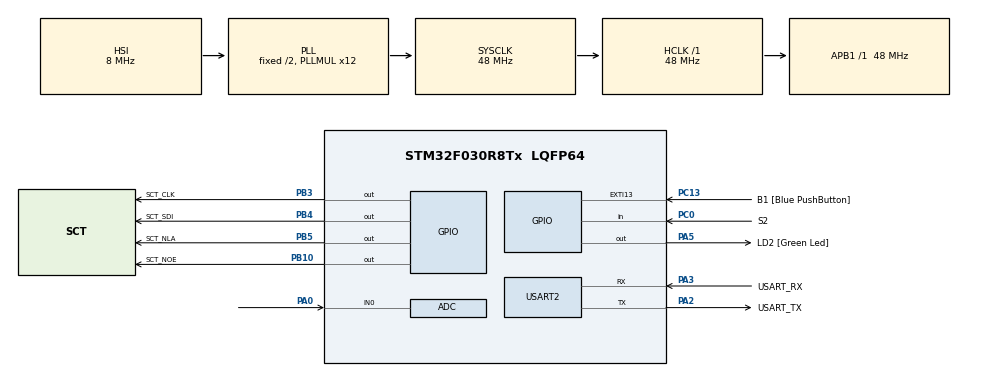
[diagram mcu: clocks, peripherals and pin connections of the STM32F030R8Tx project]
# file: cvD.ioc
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ADC.ContinuousConvMode=ENABLE
ADC.Overrun=ADC_OVR_DATA_OVERWRITTEN
ADC.SamplingTime=ADC_SAMPLETIME_239CYCLES_5
Mcu.Family=STM32F0
Mcu.Name=STM32F030R8Tx
Mcu.Package=LQFP64
NVIC.ADC1_IRQn=true\:0\:0\:false\:false\:true\:true\:true\:true
PA0.Mode=IN0
PA0.Signal=ADC_IN0
PA13.GPIO_Label=TMS
PA13.Mode=Serial_Wire
PA13.Signal=SYS_SWDIO
PA14.GPIO_Label=TCK
PA14.Mode=Serial_Wire
PA14.Signal=SYS_SWCLK
PA2.GPIO_Label=USART_TX
PA2.GPIO_Mode=GPIO_MODE_AF_PP
PA2.GPIO_PuPd=GPIO_NOPULL
PA2.GPIO_Speed=GPIO_SPEED_FREQ_LOW
PA2.Mode=Asynchronous
PA2.Signal=USART2_TX
PA3.GPIO_Label=USART_RX
PA3.GPIO_Mode=GPIO_MODE_AF_PP
PA3.GPIO_PuPd=GPIO_NOPULL
PA3.GPIO_Speed=GPIO_SPEED_FREQ_LOW
PA3.Mode=Asynchronous
PA3.Signal=USART2_RX
PA5.GPIO_Label=LD2 [Green Led]
PA5.GPIO_Mode=GPIO_MODE_OUTPUT_PP
PA5.GPIO_PuPd=GPIO_NOPULL
PA5.GPIO_Speed=GPIO_SPEED_FREQ_LOW
PA5.Signal=GPIO_Output
PB10.GPIO_Label=SCT_NOE
PB10.Signal=GPIO_Output
PB3.GPIO_Label=SCT_CLK
PB3.Signal=GPIO_Output
PB4.GPIO_Label=SCT_SDI
PB4.Signal=GPIO_Output
PB5.GPIO_Label=SCT_NLA
PB5.Signal=GPIO_Output
PC0.GPIO_Label=S2
PC0.GPIO_PuPd=GPIO_PULLUP
PC0.Signal=GPIO_Input
PC13.GPIO_Label=B1 [Blue PushButton]
PC13.GPIO_ModeDefaultEXTI=GPIO_MODE_IT_FALLING
PC13.Signal=GPXTI13
PC14-OSC32_IN.Mode=LSE-External-Oscillator
PC14-OSC32_IN.Signal=RCC_OSC32_IN
PC15-OSC32_OUT.Mode=LSE-External-Oscillator
PC15-OSC32_OUT.Signal=RCC_OSC32_OUT
PF0-OSC_IN.Mode=HSE-External-Clock-Source
PF0-OSC_IN.Signal=RCC_OSC_IN
PF1-OSC_OUT.Signal=RCC_OSC_OUT
ProjectManager.HeapSize=0x200
ProjectManager.StackSize=0x400
ProjectManager.TargetToolchain=STM32CubeIDE
RCC.AHBFreq_Value=48000000
RCC.APB1Freq_Value=48000000
RCC.APB1TimFreq_Value=48000000
RCC.HCLKFreq_Value=48000000
RCC.PLLMUL=RCC_PLL_MUL12
RCC.SYSCLKFreq_VALUE=48000000
RCC.SYSCLKSource=RCC_SYSCLKSOURCE_PLLCLK
USART2.VirtualMode-Asynchronous=VM_ASYNC
board=NUCLEO-F030R8

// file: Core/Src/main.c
/* USER CODE BEGIN Header */
/**
  ******************************************************************************
  * @file           : main.c
  * @brief          : Main program body
  ******************************************************************************
  * @attention
  *
  * Copyright (c) 2025 STMicroelectronics.
  * All rights reserved.
  *
  * This software is licensed under terms that can be found in the LICENSE file
  * in the root directory of this software component.
  * If no LICENSE file comes with this software, it is provided AS-IS.
  *
  ******************************************************************************
  */
/* USER CODE END Header */
#include "main.h"

/* USER CODE BEGIN Includes */
#include "sct.h"
/* USER CODE END Includes */

ADC_HandleTypeDef hadc;

UART_HandleTypeDef huart2;

void SystemClock_Config(void);
static void MX_GPIO_Init(void);
static void MX_USART2_UART_Init(void);
static void MX_ADC_Init(void);

/* USER CODE BEGIN 0 */
static volatile uint32_t speed;
void HAL_ADC_ConvCpltCallback(ADC_HandleTypeDef* hadc)
{
	volatile uint16_t adc_raw = HAL_ADC_GetValue(hadc);
	speed = (adc_raw * 15000 / 4096) + 5000;
}

/* USER CODE END 0 */

int main(void)
{

  /* MCU Configuration--------------------------------------------------------*/

  /* Reset of all peripherals, Initializes the Flash interface and the Systick. */
  HAL_Init();

  /* Configure the system clock */
  SystemClock_Config();

  /* Initialize all configured peripherals */
  MX_GPIO_Init();
  MX_USART2_UART_Init();
  MX_ADC_Init();
  /* USER CODE BEGIN 2 */
  HAL_ADCEx_Calibration_Start(&hadc);
  HAL_ADC_Start_IT(&hadc);

  sct_init();
  /* USER CODE END 2 */

  /* Infinite loop */
  /* USER CODE BEGIN WHILE */
  while (1)
  {
	  enum LIGHT_t{
		  RED,
		  YELLOW_1,
		  YELLOW_2,
		  GREEN,
		  READY,
	  };

	  static enum LIGHT_t car;
	  static enum LIGHT_t walk;
	  static uint32_t delay_car;
	  static uint32_t delay_walk;
	  static uint8_t car_en = 1;
	  static uint8_t walk_en = 0;
	  static uint8_t counter;
	  static uint32_t cTime_timer;

	  static uint8_t leds[8];

	  static volatile uint32_t cTime_car;
	  if (HAL_GetTick() > cTime_car + delay_car && car_en){

		  switch (car) {
		  case RED:
			  leds[0] = 1;
			  leds[1] = 0;
			  leds[2] = 0;
			  delay_car = speed;
			  counter = speed / 1000;
			  cTime_timer = HAL_GetTick();
			  car = YELLOW_1;
			  if(walk == READY){
				  car_en = 0;
				  walk_en = 1;
				  walk = GREEN;
				  delay_walk = 0;
			  }
			  break;
		  case YELLOW_1:
			  leds[0] = 0;
			  leds[1] = 1;
			  leds[2] = 0;
			  delay_car = 1000;
			  car = GREEN;
			  break;
		  case YELLOW_2:
			  leds[0] = 0;
			  leds[1] = 1;
			  leds[2] = 0;
			  delay_car = 1000;
			  car = RED;
			  break;
		  case GREEN:
			  leds[0] = 0;
			  leds[1] = 0;
			  leds[2] = 1;
			  delay_car = speed;
			  counter = speed / 1000;
			  cTime_timer = HAL_GetTick();
			  car = YELLOW_2;
			  break;
		  default:
			  break;
		  }
		  cTime_car = HAL_GetTick();
		  sct_value(counter, leds, 0);
	  }

	  static uint32_t cTime_debounc;
	  if (HAL_GetTick() > cTime_debounc + 300){
		  if(HAL_GPIO_ReadPin(S2_GPIO_Port, S2_Pin) == 0){
			  car = YELLOW_2;
			  walk = READY;
			  delay_car = 0;
		  }
		  cTime_debounc = HAL_GetTick();
	  }

	  if (HAL_GetTick() > cTime_timer + 1000){
		  if(counter > 0) counter--;
		  sct_value(counter, leds, 0);
		  cTime_timer = HAL_GetTick();
	  }

	  static volatile uint32_t cTime_walk;
	  if (HAL_GetTick() > cTime_walk + delay_walk && walk_en){

		  switch (walk) {
		  case RED:
			  leds[6] = 1;
			  leds[7] = 0;
			  delay_car = 2000;
			  car = YELLOW_1;
			  walk_en = 0;
			  car_en = 1;
			  break;
		  case GREEN:
			  leds[6] = 0;
			  leds[7] = 1;
			  delay_walk = 5000;
			  walk = RED;
			  break;
		  case READY:
			  walk = RED;
		  default:
			  break;
		  }
		  cTime_walk = HAL_GetTick();
		  sct_value(0, leds, 0);
	  }

    /* USER CODE END WHILE */

  }
}

void SystemClock_Config(void)
{
  RCC_OscInitTypeDef RCC_OscInitStruct = {0};
  RCC_ClkInitTypeDef RCC_ClkInitStruct = {0};

  /** Initializes the RCC Oscillators according to the specified parameters
  * in the RCC_OscInitTypeDef structure.
  */
  RCC_OscInitStruct.OscillatorType = RCC_OSCILLATORTYPE_HSI|RCC_OSCILLATORTYPE_HSI14;
  RCC_OscInitStruct.HSIState = RCC_HSI_ON;
  RCC_OscInitStruct.HSI14State = RCC_HSI14_ON;
  RCC_OscInitStruct.HSICalibrationValue = RCC_HSICALIBRATION_DEFAULT;
  RCC_OscInitStruct.HSI14CalibrationValue = 16;
  RCC_OscInitStruct.PLL.PLLState = RCC_PLL_ON;
  RCC_OscInitStruct.PLL.PLLSource = RCC_PLLSOURCE_HSI;
  RCC_OscInitStruct.PLL.PLLMUL = RCC_PLL_MUL12;
  RCC_OscInitStruct.PLL.PREDIV = RCC_PREDIV_DIV1;
  if (HAL_RCC_OscConfig(&RCC_OscInitStruct) != HAL_OK)
  {
    Error_Handler();
  }

  /** Initializes the CPU, AHB and APB buses clocks
  */
  RCC_ClkInitStruct.ClockType = RCC_CLOCKTYPE_HCLK|RCC_CLOCKTYPE_SYSCLK
                              |RCC_CLOCKTYPE_PCLK1;
  RCC_ClkInitStruct.SYSCLKSource = RCC_SYSCLKSOURCE_PLLCLK;
  RCC_ClkInitStruct.AHBCLKDivider = RCC_SYSCLK_DIV1;
  RCC_ClkInitStruct.APB1CLKDivider = RCC_HCLK_DIV1;

  if (HAL_RCC_ClockConfig(&RCC_ClkInitStruct, FLASH_LATENCY_1) != HAL_OK)
  {
    Error_Handler();
  }
}

static void MX_ADC_Init(void)
{

  ADC_ChannelConfTypeDef sConfig = {0};

  /** Configure the global features of the ADC (Clock, Resolution, Data Alignment and number of conversion)
  */
  hadc.Instance = ADC1;
  hadc.Init.ClockPrescaler = ADC_CLOCK_ASYNC_DIV1;
  hadc.Init.Resolution = ADC_RESOLUTION_12B;
  hadc.Init.DataAlign = ADC_DATAALIGN_RIGHT;
  hadc.Init.ScanConvMode = ADC_SCAN_DIRECTION_FORWARD;
  hadc.Init.EOCSelection = ADC_EOC_SINGLE_CONV;
  hadc.Init.LowPowerAutoWait = DISABLE;
  hadc.Init.LowPowerAutoPowerOff = DISABLE;
  hadc.Init.ContinuousConvMode = ENABLE;
  hadc.Init.DiscontinuousConvMode = DISABLE;
  hadc.Init.ExternalTrigConv = ADC_SOFTWARE_START;
  hadc.Init.ExternalTrigConvEdge = ADC_EXTERNALTRIGCONVEDGE_NONE;
  hadc.Init.DMAContinuousRequests = DISABLE;
  hadc.Init.Overrun = ADC_OVR_DATA_OVERWRITTEN;
  if (HAL_ADC_Init(&hadc) != HAL_OK)
  {
    Error_Handler();
  }

  /** Configure for the selected ADC regular channel to be converted.
  */
  sConfig.Channel = ADC_CHANNEL_0;
  sConfig.Rank = ADC_RANK_CHANNEL_NUMBER;
  sConfig.SamplingTime = ADC_SAMPLETIME_239CYCLES_5;
  if (HAL_ADC_ConfigChannel(&hadc, &sConfig) != HAL_OK)
  {
    Error_Handler();
  }

}

static void MX_USART2_UART_Init(void)
{

  huart2.Instance = USART2;
  huart2.Init.BaudRate = 38400;
  huart2.Init.WordLength = UART_WORDLENGTH_8B;
  huart2.Init.StopBits = UART_STOPBITS_1;
  huart2.Init.Parity = UART_PARITY_NONE;
  huart2.Init.Mode = UART_MODE_TX_RX;
  huart2.Init.HwFlowCtl = UART_HWCONTROL_NONE;
  huart2.Init.OverSampling = UART_OVERSAMPLING_16;
  huart2.Init.OneBitSampling = UART_ONE_BIT_SAMPLE_DISABLE;
  huart2.AdvancedInit.AdvFeatureInit = UART_ADVFEATURE_NO_INIT;
  if (HAL_UART_Init(&huart2) != HAL_OK)
  {
    Error_Handler();
  }

}

static void MX_GPIO_Init(void)
{
  GPIO_InitTypeDef GPIO_InitStruct = {0};

  /* GPIO Ports Clock Enable */
  __HAL_RCC_GPIOC_CLK_ENABLE();
  __HAL_RCC_GPIOF_CLK_ENABLE();
  __HAL_RCC_GPIOA_CLK_ENABLE();
  __HAL_RCC_GPIOB_CLK_ENABLE();

  /*Configure GPIO pin Output Level */
  HAL_GPIO_WritePin(LD2_GPIO_Port, LD2_Pin, GPIO_PIN_RESET);

  /*Configure GPIO pin Output Level */
  HAL_GPIO_WritePin(GPIOB, SCT_NOE_Pin|SCT_CLK_Pin|SCT_SDI_Pin|SCT_NLA_Pin, GPIO_PIN_RESET);

  /*Configure GPIO pin : B1_Pin */
  GPIO_InitStruct.Pin = B1_Pin;
  GPIO_InitStruct.Mode = GPIO_MODE_IT_FALLING;
  GPIO_InitStruct.Pull = GPIO_NOPULL;
  HAL_GPIO_Init(B1_GPIO_Port, &GPIO_InitStruct);

  /*Configure GPIO pin : S2_Pin */
  GPIO_InitStruct.Pin = S2_Pin;
  GPIO_InitStruct.Mode = GPIO_MODE_INPUT;
  GPIO_InitStruct.Pull = GPIO_PULLUP;
  HAL_GPIO_Init(S2_GPIO_Port, &GPIO_InitStruct);

  /*Configure GPIO pin : LD2_Pin */
  GPIO_InitStruct.Pin = LD2_Pin;
  GPIO_InitStruct.Mode = GPIO_MODE_OUTPUT_PP;
  GPIO_InitStruct.Pull = GPIO_NOPULL;
  GPIO_InitStruct.Speed = GPIO_SPEED_FREQ_LOW;
  HAL_GPIO_Init(LD2_GPIO_Port, &GPIO_InitStruct);

  /*Configure GPIO pins : SCT_NOE_Pin SCT_CLK_Pin SCT_SDI_Pin SCT_NLA_Pin */
  GPIO_InitStruct.Pin = SCT_NOE_Pin|SCT_CLK_Pin|SCT_SDI_Pin|SCT_NLA_Pin;
  GPIO_InitStruct.Mode = GPIO_MODE_OUTPUT_PP;
  GPIO_InitStruct.Pull = GPIO_NOPULL;
  GPIO_InitStruct.Speed = GPIO_SPEED_FREQ_LOW;
  HAL_GPIO_Init(GPIOB, &GPIO_InitStruct);

}

void Error_Handler(void)
{
  __disable_irq();
  while (1)
  {
  }
}
